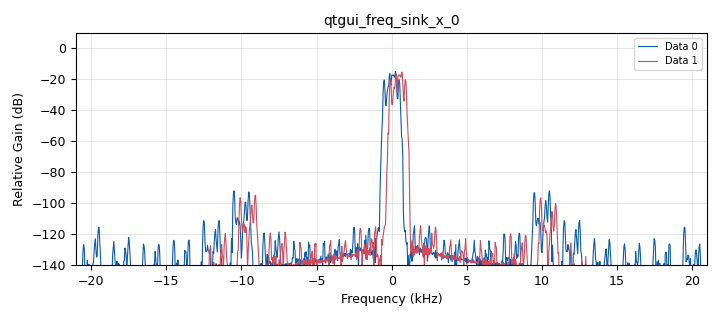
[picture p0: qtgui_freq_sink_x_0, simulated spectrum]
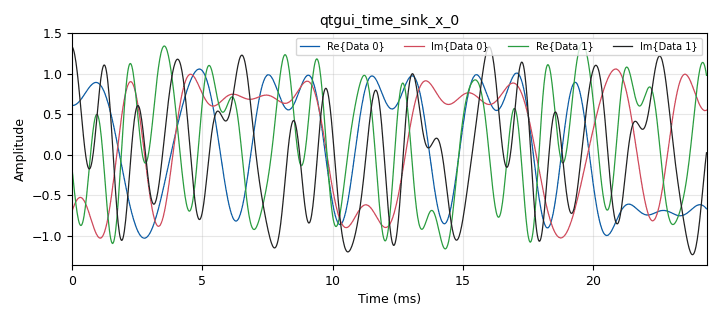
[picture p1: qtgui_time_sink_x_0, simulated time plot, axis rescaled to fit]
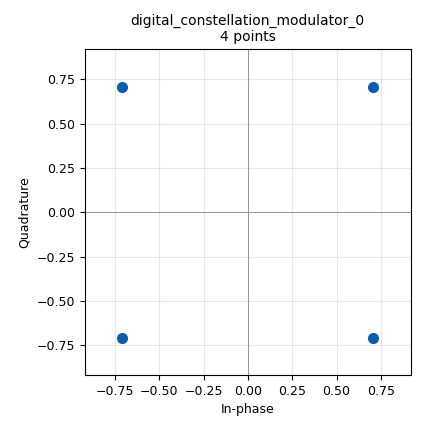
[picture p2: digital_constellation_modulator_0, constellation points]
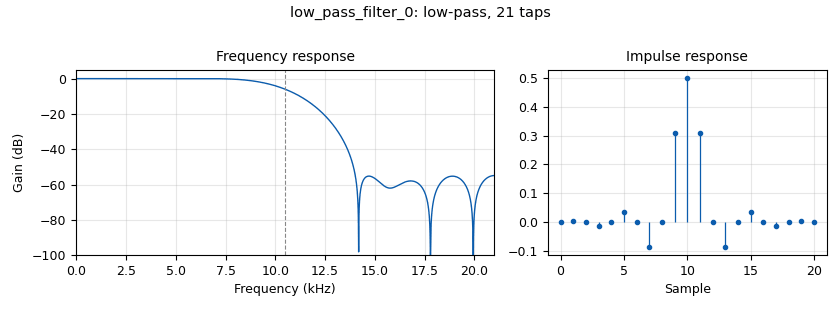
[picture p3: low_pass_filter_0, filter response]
options:
  parameters:
    author: Kuligin
    copyright: MIET
    generate_options: qt_gui
    id: lab1
    output_language: python
    title: Lab1
  states: {}

blocks:
- name: excess_bw
  id: variable
  parameters:
    value: '0.35'
  states: {}
- name: freq
  id: variable
  parameters:
    value: '10500'
  states: {}
- name: qpsk
  id: variable_constellation_rect
  parameters:
    const_points: '[-1-1j, -1+1j, 1+1j, 1-1j]'
    imag_sect: '2'
    real_sect: '2'
    rot_sym: '4'
    sym_map: '[0, 1, 2, 3]'
    w_imag_sect: '1'
    w_real_sect: '1'
  states: {}
- name: samp_rate
  id: variable
  parameters:
    value: '42000'
  states: {}
- name: sps
  id: variable
  parameters:
    value: '42'
  states: {}
- name: analog_sig_source_x_0
  id: analog_sig_source_x
  parameters:
    amp: '1'
    freq: freq
    offset: '0'
    phase: '0'
    samp_rate: samp_rate
    type: complex
    waveform: analog.GR_COS_WAVE
  states: {}
- name: analog_sig_source_x_1
  id: analog_sig_source_x
  parameters:
    amp: '1'
    freq: '-freq'
    offset: '0'
    phase: '0'
    samp_rate: samp_rate
    type: complex
    waveform: analog.GR_COS_WAVE
  states: {}
- name: blocks_delay_0
  id: blocks_delay
  parameters:
    delay: '50'
    type: complex
  states: {}
- name: blocks_multiply_xx_0
  id: blocks_multiply_xx
  parameters:
    type: complex
  states: {}
- name: blocks_multiply_xx_1
  id: blocks_multiply_xx
  parameters:
    type: complex
  states: {}
- name: blocks_throttle2_0
  id: blocks_throttle2
  parameters:
    samples_per_second: samp_rate
    type: complex
  states: {}
- name: blocks_vector_source_x_0
  id: blocks_vector_source_x
  parameters:
    repeat: 'True'
    type: byte
    vector: (208, 154, 209, 131, 208, 187, 208, 184, 208, 179, 208, 184, 208, 189)
  states: {}
- name: channels_channel_model_0
  id: channels_channel_model
  parameters:
    epsilon: '1.0'
    freq_offset: '0.01'
    noise_voltage: '0.0'
    seed: '0'
    taps: '1.0'
  states: {}
- name: digital_constellation_modulator_0
  id: digital_constellation_modulator
  parameters:
    constellation: qpsk
    differential: 'True'
    excess_bw: excess_bw
    samples_per_symbol: sps
  states: {}
- name: low_pass_filter_0
  id: low_pass_filter
  parameters:
    cutoff_freq: '10500'
    decim: '1'
    gain: '1'
    samp_rate: samp_rate
    type: fir_filter_ccf
    width: '5000'
    win: window.WIN_HAMMING
  states: {}
- name: qtgui_freq_sink_x_0
  id: qtgui_freq_sink_x
  parameters:
    bw: samp_rate
    fc: '0'
    fftsize: '1024'
    nconnections: '2'
    type: complex
  states: {}
- name: qtgui_time_sink_x_0
  id: qtgui_time_sink_x
  parameters:
    nconnections: '2'
    size: '1024'
    srate: samp_rate
    type: complex
  states: {}
- name: rational_resampler_xxx_0
  id: rational_resampler_xxx
  parameters:
    decim: '1'
    interp: '1'
    type: ccc
  states: {}
- name: virtual_sink_0
  id: virtual_sink
  parameters:
    stream_id: out
  states: {}
- name: virtual_source_1
  id: virtual_source
  parameters:
    stream_id: out
  states: {}

connections:
- [analog_sig_source_x_0, '0', blocks_throttle2_0, '0']
- [analog_sig_source_x_1, '0', blocks_multiply_xx_1, '1']
- [blocks_delay_0, '0', qtgui_time_sink_x_0, '0']
- [blocks_multiply_xx_0, '0', channels_channel_model_0, '0']
- [blocks_multiply_xx_1, '0', low_pass_filter_0, '0']
- [blocks_throttle2_0, '0', blocks_multiply_xx_0, '1']
- [blocks_vector_source_x_0, '0', digital_constellation_modulator_0, '0']
- [channels_channel_model_0, '0', virtual_sink_0, '0']
- [digital_constellation_modulator_0, '0', rational_resampler_xxx_0, '0']
- [low_pass_filter_0, '0', qtgui_freq_sink_x_0, '1']
- [low_pass_filter_0, '0', qtgui_time_sink_x_0, '1']
- [rational_resampler_xxx_0, '0', blocks_delay_0, '0']
- [rational_resampler_xxx_0, '0', blocks_multiply_xx_0, '0']
- [rational_resampler_xxx_0, '0', qtgui_freq_sink_x_0, '0']
- [virtual_source_1, '0', blocks_multiply_xx_1, '0']

metadata:
  file_format: 1
  grc_version: 3.10.10.0
